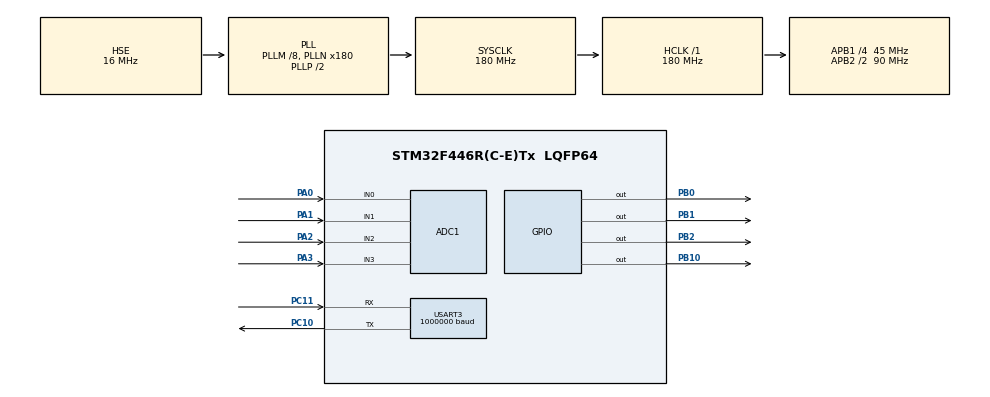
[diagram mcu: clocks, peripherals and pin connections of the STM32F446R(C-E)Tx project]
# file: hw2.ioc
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ADC1.Channel-0\#ChannelRegularConversion=ADC_CHANNEL_0
ADC1.Channel-1\#ChannelRegularConversion=ADC_CHANNEL_1
ADC1.Channel-2\#ChannelRegularConversion=ADC_CHANNEL_2
ADC1.Channel-3\#ChannelRegularConversion=ADC_CHANNEL_3
ADC1.DMAContinuousRequests=ENABLE
ADC1.ExternalTrigConv=ADC_EXTERNALTRIGCONV_T8_TRGO
ADC1.NbrOfConversion=4
ADC1.NbrOfConversionFlag=1
ADC1.Rank-0\#ChannelRegularConversion=1
ADC1.Rank-1\#ChannelRegularConversion=2
ADC1.Rank-2\#ChannelRegularConversion=3
ADC1.Rank-3\#ChannelRegularConversion=4
ADC1.SamplingTime-0\#ChannelRegularConversion=ADC_SAMPLETIME_15CYCLES
ADC1.SamplingTime-1\#ChannelRegularConversion=ADC_SAMPLETIME_15CYCLES
ADC1.SamplingTime-2\#ChannelRegularConversion=ADC_SAMPLETIME_15CYCLES
ADC1.SamplingTime-3\#ChannelRegularConversion=ADC_SAMPLETIME_15CYCLES
ADC1.ScanConvMode=ENABLE
ADC1.master=1
Dma.ADC1.0.Direction=DMA_PERIPH_TO_MEMORY
Dma.ADC1.0.FIFOMode=DMA_FIFOMODE_DISABLE
Dma.ADC1.0.Instance=DMA2_Stream0
Dma.ADC1.0.MemDataAlignment=DMA_MDATAALIGN_WORD
Dma.ADC1.0.MemInc=DMA_MINC_ENABLE
Dma.ADC1.0.Mode=DMA_CIRCULAR
Dma.ADC1.0.PeriphDataAlignment=DMA_PDATAALIGN_WORD
Dma.ADC1.0.PeriphInc=DMA_PINC_DISABLE
Dma.ADC1.0.Priority=DMA_PRIORITY_LOW
Dma.Request0=ADC1
Mcu.Family=STM32F4
Mcu.Name=STM32F446R(C-E)Tx
Mcu.Package=LQFP64
NVIC.ADC_IRQn=true\:0\:0\:false\:false\:true\:true\:true\:true
NVIC.DMA2_Stream0_IRQn=true\:0\:0\:false\:false\:true\:false\:true\:true
NVIC.PriorityGroup=NVIC_PRIORITYGROUP_4
NVIC.TIM6_DAC_IRQn=true\:0\:0\:false\:false\:true\:true\:true\:true
NVIC.TIM8_UP_TIM13_IRQn=true\:0\:0\:false\:false\:true\:true\:true\:true
NVIC.USART3_IRQn=true\:0\:0\:false\:false\:true\:true\:true\:true
PA0-WKUP.Signal=ADCx_IN0
PA1.Signal=ADCx_IN1
PA13.Mode=Serial_Wire
PA13.Signal=SYS_JTMS-SWDIO
PA14.Mode=Serial_Wire
PA14.Signal=SYS_JTCK-SWCLK
PA2.Signal=ADCx_IN2
PA3.Signal=ADCx_IN3
PB0.Signal=GPIO_Output
PB1.Signal=GPIO_Output
PB10.Signal=GPIO_Output
PB2.Signal=GPIO_Output
PC10.Mode=Asynchronous
PC10.Signal=USART3_TX
PC11.Mode=Asynchronous
PC11.Signal=USART3_RX
PH0-OSC_IN.Mode=HSE-External-Oscillator
PH0-OSC_IN.Signal=RCC_OSC_IN
PH1-OSC_OUT.Mode=HSE-External-Oscillator
PH1-OSC_OUT.Signal=RCC_OSC_OUT
ProjectManager.HeapSize=0x200
ProjectManager.StackSize=0x400
ProjectManager.TargetToolchain=STM32CubeIDE
RCC.AHBFreq_Value=180000000
RCC.APB1CLKDivider=RCC_HCLK_DIV4
RCC.APB1Freq_Value=45000000
RCC.APB1TimFreq_Value=90000000
RCC.APB2CLKDivider=RCC_HCLK_DIV2
RCC.APB2Freq_Value=90000000
RCC.APB2TimFreq_Value=180000000
RCC.CortexFreq_Value=180000000
RCC.HCLKFreq_Value=180000000
RCC.HSE_VALUE=16000000
RCC.PLLM=8
RCC.PLLN=180
RCC.PLLSourceVirtual=RCC_PLLSOURCE_HSE
RCC.SYSCLKFreq_VALUE=180000000
RCC.SYSCLKSource=RCC_SYSCLKSOURCE_PLLCLK
RCC.USBFreq_Value=180000000
RCC.VCOOutputFreq_Value=360000000
SH.ADCx_IN0.0=ADC1_IN0,IN0
SH.ADCx_IN1.0=ADC1_IN1,IN1
SH.ADCx_IN2.0=ADC1_IN2,IN2
SH.ADCx_IN3.0=ADC1_IN3,IN3
TIM6.Period=100-1
TIM6.Prescaler=90-1
TIM8.Period=10000-1
TIM8.Prescaler=180-1
TIM8.TIM_MasterOutputTrigger=TIM_TRGO_UPDATE
USART3.BaudRate=1000000
USART3.VirtualMode=VM_ASYNC
VP_TIM6_VS_ClockSourceINT.Mode=Enable_Timer
VP_TIM8_VS_ClockSourceINT.Mode=Internal
board=custom

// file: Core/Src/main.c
/* USER CODE BEGIN Header */
/**
 ******************************************************************************
 * @file           : main.c
 * @brief          : Main program body
 ******************************************************************************
 * @attention
 *
 * Copyright (c) 2026 STMicroelectronics.
 * All rights reserved.
 *
 * This software is licensed under terms that can be found in the LICENSE file
 * in the root directory of this software component.
 * If no LICENSE file comes with this software, it is provided AS-IS.
 *
 ******************************************************************************
 */
/* USER CODE END Header */
#include "main.h"
#include "adc.h"
#include "dma.h"
#include "tim.h"
#include "usart.h"
#include "gpio.h"

/* USER CODE BEGIN PD */
#define RX_BUFFER_SIZE 256 // USART 수신 버퍼 크기
/* USER CODE END PD */

/* USER CODE BEGIN PV */
uint8_t PCrxBuffer[RX_BUFFER_SIZE];

uint16_t rb_head = 0;

uint16_t _500ms_count = 0; // 5ms타이머를 이용해서 0.5s를 만듦

uint8_t is_len_on = 0;

// 어제자 과제에서 가져옴
uint8_t SW_DATA; // sw 데이터. LSB(오른쪽)부터 PB12,13,14,15

// CRC만 AI에게 맞긴 패킷
const uint8_t torq_on[] = { 0xFF, 0xFF, 0xFD, 0x00, 0x0E, 0x06, 0x00, 0x03,
		0x40, 0x00, 0x01, 0x2B, 0x69 };
const uint8_t pos_center[] = { 0xFF, 0xFF, 0xFD, 0x00, 0x0E, 0x09, 0x00, 0x03,
		0x74, 0x00, 0x00, 0x04, 0x00, 0x00, 0x71, 0x29 };
const uint8_t pos_p90[] = { 0xFF, 0xFF, 0xFD, 0x00, 0x0E, 0x09, 0x00, 0x03,
		0x74, 0x00, 0x00, 0x08, 0x00, 0x00, 0x81, 0x29 };
const uint8_t pos_m90[] = { 0xFF, 0xFF, 0xFD, 0x00, 0x0E, 0x09, 0x00, 0x03,
		0x74, 0x00, 0x00, 0x00, 0x00, 0x00, 0x22, 0xA9 };
/* USER CODE END PV */

void SystemClock_Config(void);
/* USER CODE BEGIN PFP */

// 스위치 데이터를 세팅하는 함수
void sw_data_set();

/* USER CODE END PFP */

/* USER CODE BEGIN 0 */

//패킷 송신
void pkt_send(const uint8_t *pkt, uint8_t len) {
	for (uint8_t i = 0; i < len; i++) {
		while (!LL_USART_IsActiveFlag_TXE(USART3))
			;
		LL_USART_TransmitData8(USART3, pkt[i]);
	}
	while (!LL_USART_IsActiveFlag_TC(USART3))
		;
}
/* USER CODE END 0 */

int main(void) {

	/* MCU Configuration--------------------------------------------------------*/

	/* Reset of all peripherals, Initializes the Flash interface and the Systick. */
	HAL_Init();

	/* Configure the system clock */
	SystemClock_Config();

	/* Initialize all configured peripherals */
	MX_GPIO_Init();
	MX_DMA_Init();
	MX_ADC1_Init();
	MX_TIM8_Init();
	MX_TIM6_Init();
	MX_USART3_UART_Init();
	/* USER CODE BEGIN 2 */

	//timer6, 5ms period
	HAL_TIM_Base_Start_IT(&htim6);
	LL_DMA_SetMemoryAddress(DMA1, LL_DMA_STREAM_1, (uint32_t) PCrxBuffer); // 수신 메모리 주소 설정(DMA를 이용해서 USART -> 메모리)
	LL_DMA_SetPeriphAddress(DMA1, LL_DMA_STREAM_1, (uint32_t) &USART3->DR);
	LL_DMA_SetDataLength(DMA1, LL_DMA_STREAM_1, RX_BUFFER_SIZE);
	LL_DMA_EnableStream(DMA1, LL_DMA_STREAM_1);
	LL_USART_EnableDMAReq_RX(USART3);
	LL_USART_EnableIT_IDLE(USART3);

	pkt_send(torq_on, sizeof(torq_on));
	HAL_Delay(10);

	/* USER CODE END 2 */

	/* Infinite loop */
	while (1) {
		HAL_Delay(100);
		sw_data_set(); // 스위치 값 읽어옴

		if (SW_DATA & 0x01)
			HAL_GPIO_WritePin(GPIOB, GPIO_PIN_0, GPIO_PIN_SET);
		else {
			HAL_GPIO_WritePin(GPIOB, GPIO_PIN_0, GPIO_PIN_RESET);
			pkt_send(pos_center, sizeof(pos_center));
			continue;
		}
		if (SW_DATA & 0x02)
			HAL_GPIO_WritePin(GPIOB, GPIO_PIN_1, GPIO_PIN_SET);
		else {
			HAL_GPIO_WritePin(GPIOB, GPIO_PIN_1, GPIO_PIN_RESET);
			pkt_send(pos_p90, sizeof(pos_p90));
			continue;
		}
		if (SW_DATA & 0x04)
			HAL_GPIO_WritePin(GPIOB, GPIO_PIN_2, GPIO_PIN_SET);
		else {
			HAL_GPIO_WritePin(GPIOB, GPIO_PIN_2, GPIO_PIN_RESET);
			pkt_send(pos_m90, sizeof(pos_m90));
			continue;
		}

	}
	/* USER CODE END 3 */
}

void SystemClock_Config(void) {
	RCC_OscInitTypeDef RCC_OscInitStruct = { 0 };
	RCC_ClkInitTypeDef RCC_ClkInitStruct = { 0 };

	/** Configure the main internal regulator output voltage
	 */
	__HAL_RCC_PWR_CLK_ENABLE();
	__HAL_PWR_VOLTAGESCALING_CONFIG(PWR_REGULATOR_VOLTAGE_SCALE1);

	/** Initializes the RCC Oscillators according to the specified parameters
	 * in the RCC_OscInitTypeDef structure.
	 */
	RCC_OscInitStruct.OscillatorType = RCC_OSCILLATORTYPE_HSE;
	RCC_OscInitStruct.HSEState = RCC_HSE_ON;
	RCC_OscInitStruct.PLL.PLLState = RCC_PLL_ON;
	RCC_OscInitStruct.PLL.PLLSource = RCC_PLLSOURCE_HSE;
	RCC_OscInitStruct.PLL.PLLM = 8;
	RCC_OscInitStruct.PLL.PLLN = 180;
	RCC_OscInitStruct.PLL.PLLP = RCC_PLLP_DIV2;
	RCC_OscInitStruct.PLL.PLLQ = 2;
	RCC_OscInitStruct.PLL.PLLR = 2;
	if (HAL_RCC_OscConfig(&RCC_OscInitStruct) != HAL_OK) {
		Error_Handler();
	}

	/** Activate the Over-Drive mode
	 */
	if (HAL_PWREx_EnableOverDrive() != HAL_OK) {
		Error_Handler();
	}

	/** Initializes the CPU, AHB and APB buses clocks
	 */
	RCC_ClkInitStruct.ClockType = RCC_CLOCKTYPE_HCLK | RCC_CLOCKTYPE_SYSCLK
			| RCC_CLOCKTYPE_PCLK1 | RCC_CLOCKTYPE_PCLK2;
	RCC_ClkInitStruct.SYSCLKSource = RCC_SYSCLKSOURCE_PLLCLK;
	RCC_ClkInitStruct.AHBCLKDivider = RCC_SYSCLK_DIV1;
	RCC_ClkInitStruct.APB1CLKDivider = RCC_HCLK_DIV4;
	RCC_ClkInitStruct.APB2CLKDivider = RCC_HCLK_DIV2;

	if (HAL_RCC_ClockConfig(&RCC_ClkInitStruct, FLASH_LATENCY_5) != HAL_OK) {
		Error_Handler();
	}
}

/* USER CODE BEGIN 4 */
void writePacket(uint8_t packet[], int length) {
	for (int i = 0; i < length; i++) {
		while (!LL_USART_IsActiveFlag_TXE(USART3))
			;
		LL_USART_TransmitData8(USART3, packet[i]);
	}
}

void HAL_TIM_PeriodElapsedCallback(TIM_HandleTypeDef *htim) {
	if (htim->Instance == TIM6) {

	}
}

// 스위치 세팅
void sw_data_set(void) {
	if (HAL_GPIO_ReadPin(GPIOB, GPIO_PIN_12))
		SW_DATA |= 0x01;
	else
		SW_DATA &= ~(0x01);

	if (HAL_GPIO_ReadPin(GPIOB, GPIO_PIN_13))
		SW_DATA |= 0x02;
	else
		SW_DATA &= ~(0x02);

	if (HAL_GPIO_ReadPin(GPIOB, GPIO_PIN_14))
		SW_DATA |= 0x04;
	else
		SW_DATA &= ~(0x04);

	if (HAL_GPIO_ReadPin(GPIOB, GPIO_PIN_15))
		SW_DATA |= 0x08;
	else
		SW_DATA &= ~(0x08);
}

/* USER CODE END 4 */

void Error_Handler(void) {
	__disable_irq();
	while (1) {
	}
}
